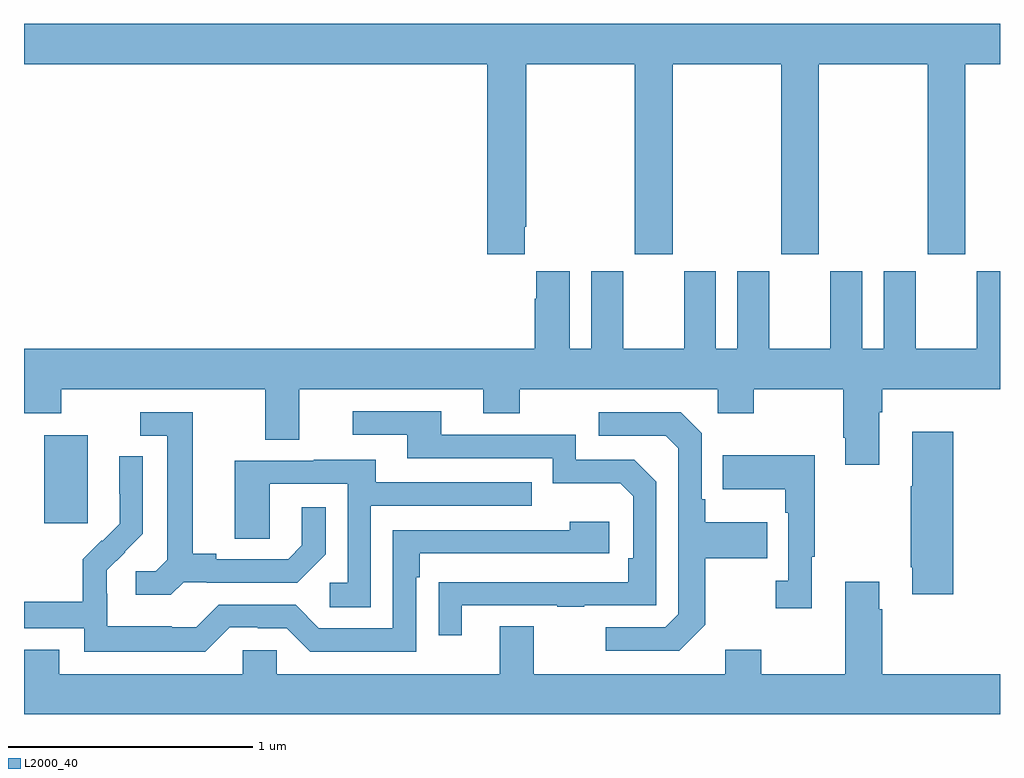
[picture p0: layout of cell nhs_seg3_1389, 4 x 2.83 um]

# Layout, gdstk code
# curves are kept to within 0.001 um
import gdstk
lib = gdstk.Library(unit=1e-6, precision=1e-09)
def R(c, l, rs):  # rectangles x0, y0, x1, y1
    for r in rs: c.add(gdstk.rectangle(r[:2], r[2:], *l))
def P(c, l, *ps):  # polygons
    for p in ps: c.add(gdstk.Polygon(p, *l))
L2000_40 = (2000, 40)

nhs_seg3_1389 = lib.new_cell('nhs_seg3_1389')
R(nhs_seg3_1389, L2000_40, [(183.083,693.705,183.262,694.066)])
P(nhs_seg3_1389, L2000_40, [(183,695.588),(184.898,695.588),(184.898,694.809),(185.053,694.809),(185.053,694.921),(185.058,694.921),(185.058,695.588),(185.503,695.588),(185.503,694.809),(185.658,694.809),(185.658,695.588),(186.103,695.588),(186.103,694.809),(186.258,694.809),(186.258,695.588),(186.703,695.588),(186.703,694.809),(186.858,694.809),(186.858,695.588),(187,695.588),(187,695.752),(183,695.752)],
  [(186.505,694.16),(186.518,694.16),(186.518,694.256),(187,694.256),(187,694.738),(186.905,694.738),(186.905,694.42),(186.655,694.42),(186.655,694.738),(186.524,694.738),(186.524,694.42),(186.436,694.42),(186.436,694.738),(186.305,694.738),(186.305,694.42),(186.055,694.42),(186.055,694.738),(185.924,694.738),(185.924,694.42),(185.836,694.42),(185.836,694.738),(185.705,694.738),(185.705,694.42),(185.455,694.42),(185.455,694.738),(185.324,694.738),(185.324,694.42),(185.236,694.42),(185.236,694.738),(185.099,694.738),(185.099,694.625),(185.093,694.625),(185.093,694.42),(183,694.42),(183,694.157),(183.153,694.157),(183.153,694.256),(183.989,694.256),(183.989,694.048),(184.129,694.048),(184.129,694.256),(184.883,694.256),(184.883,694.157),(185.031,694.157),(185.031,694.256),(185.844,694.256),(185.844,694.157),(185.991,694.157),(185.991,694.256),(186.358,694.256),(186.358,694.057),(186.365,694.057),(186.365,693.945),(186.505,693.945)],
  [(184.795,693.369),(185.185,693.369),(185.185,693.364),(185.297,693.364),(185.297,693.369),(185.592,693.369),(185.592,693.876),(185.502,693.966),(185.262,693.966),(185.262,694.068),(184.711,694.068),(184.711,694.164),(184.347,694.164),(184.347,694.068),(184.571,694.068),(184.571,693.972),(185.166,693.972),(185.166,693.869),(185.443,693.869),(185.496,693.816),(185.496,693.562),(185.476,693.562),(185.476,693.465),(184.699,693.464),(184.699,693.246),(184.795,693.246)],
  [(185.791,693.289),(185.791,693.562),(186.047,693.562),(186.047,693.709),(185.791,693.709),(185.791,693.805),(185.778,693.805),(185.778,694.074),(185.691,694.161),(185.355,694.161),(185.355,694.065),(185.631,694.065),(185.682,694.014),(185.682,693.333),(185.628,693.279),(185.385,693.279),(185.385,693.183),(185.685,693.183)],
  [(183.654,693.465),(183.748,693.465),(183.748,693.462),(184.12,693.462),(184.236,693.578),(184.236,693.772),(184.139,693.772),(184.139,693.615),(184.082,693.558),(183.787,693.558),(183.787,693.581),(183.691,693.581),(183.691,694.161),(183.477,694.161),(183.477,694.065),(183.587,694.065),(183.587,693.557),(183.54,693.51),(183.459,693.51),(183.459,693.413),(183.602,693.413)],
  [(186.809,694.081),(186.641,694.081),(186.641,693.857),(186.634,693.857),(186.634,693.526),(186.641,693.526),(186.641,693.414),(186.809,693.414)],
  [(186.229,693.569),(186.241,693.569),(186.241,693.985),(185.863,693.985),(185.863,693.845),(186.12,693.845),(186.12,693.749),(186.132,693.749),(186.132,693.47),(186.081,693.47),(186.081,693.357),(186.229,693.357)],
  [(183.843,693.279),(183.959,693.279),(183.959,693.276),(184.077,693.276),(184.173,693.18),(184.608,693.18),(184.608,693.485),(184.621,693.485),(184.621,693.582),(185.398,693.582),(185.398,693.712),(185.237,693.712),(185.237,693.678),(184.512,693.678),(184.512,693.276),(184.209,693.276),(184.113,693.372),(183.798,693.372),(183.705,693.279),(183.605,693.279),(183.605,693.283),(183.342,693.283),(183.342,693.417),(183.34,693.417),(183.34,693.514),(183.486,693.662),(183.486,693.98),(183.39,693.98),(183.39,693.826),(183.392,693.826),(183.392,693.704),(183.321,693.633),(183.318,693.636),(183.241,693.559),(183.241,693.385),(183,693.385),(183,693.276),(183.246,693.276),(183.246,693.179),(183.743,693.179)],
  [(184.422,693.777),(185.081,693.777),(185.081,693.873),(184.441,693.873),(184.441,693.967),(184.187,693.967),(184.187,693.963),(183.863,693.963),(183.863,693.643),(184.008,693.643),(184.008,693.867),(184.326,693.867),(184.326,693.462),(184.254,693.462),(184.254,693.361),(184.422,693.361)],
  [(187,693.088),(186.518,693.088),(186.518,693.353),(186.505,693.353),(186.505,693.466),(186.365,693.466),(186.365,693.088),(186.021,693.088),(186.021,693.187),(185.873,693.187),(185.873,693.088),(185.089,693.088),(185.089,693.283),(184.949,693.283),(184.949,693.088),(184.035,693.088),(184.035,693.186),(183.897,693.186),(183.897,693.088),(183.145,693.088),(183.145,693.187),(183,693.187),(183,692.924),(187,692.924)])

lib.write_gds('nhs_seg3_1389.gds')
